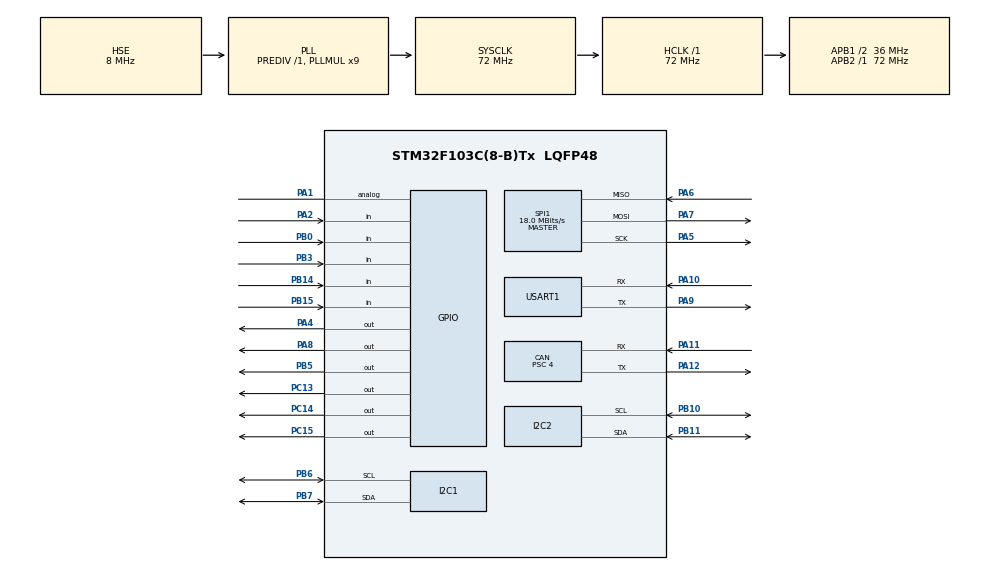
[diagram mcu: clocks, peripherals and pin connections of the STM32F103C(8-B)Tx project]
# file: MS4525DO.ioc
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CAN.ABOM=ENABLE
CAN.BS1=CAN_BS1_15TQ
CAN.BS2=CAN_BS2_2TQ
CAN.CalculateBaudRate=500000
CAN.CalculateTimeBit=2000
CAN.CalculateTimeQuantum=111.11111111111111
CAN.Mode=CAN_MODE_NORMAL
CAN.NART=ENABLE
CAN.Prescaler=4
FATFS._MAX_SS=4096
FATFS._USE_LFN=1
Mcu.Family=STM32F1
Mcu.Name=STM32F103C(8-B)Tx
Mcu.Package=LQFP48
NVIC.PriorityGroup=NVIC_PRIORITYGROUP_4
NVIC.USB_LP_CAN1_RX0_IRQn=true\:0\:0\:false\:false\:true\:true\:true\:true
PA1.Signal=GPIO_Analog
PA10.Mode=Asynchronous
PA10.Signal=USART1_RX
PA11.Mode=CAN_Activate
PA11.Signal=CAN_RX
PA12.Mode=CAN_Activate
PA12.Signal=CAN_TX
PA13.Mode=Serial_Wire
PA13.Signal=SYS_JTMS-SWDIO
PA14.Mode=Serial_Wire
PA14.Signal=SYS_JTCK-SWCLK
PA2.Signal=GPIO_Input
PA4.Signal=GPIO_Output
PA5.Mode=Full_Duplex_Master
PA5.Signal=SPI1_SCK
PA6.Mode=Full_Duplex_Master
PA6.Signal=SPI1_MISO
PA7.Mode=Full_Duplex_Master
PA7.Signal=SPI1_MOSI
PA8.Signal=GPIO_Output
PA9.Mode=Asynchronous
PA9.Signal=USART1_TX
PB0.Signal=GPIO_Input
PB10.Mode=I2C
PB10.Signal=I2C2_SCL
PB11.Mode=I2C
PB11.Signal=I2C2_SDA
PB14.Signal=GPIO_Input
PB15.Signal=GPIO_Input
PB3.Signal=GPIO_Input
PB5.Signal=GPIO_Output
PB6.Mode=I2C
PB6.Signal=I2C1_SCL
PB7.Mode=I2C
PB7.Signal=I2C1_SDA
PC13-TAMPER-RTC.Signal=GPIO_Output
PC14-OSC32_IN.Signal=GPIO_Output
PC15-OSC32_OUT.Signal=GPIO_Output
PD0-OSC_IN.Mode=HSE-External-Oscillator
PD0-OSC_IN.Signal=RCC_OSC_IN
PD1-OSC_OUT.Mode=HSE-External-Oscillator
PD1-OSC_OUT.Signal=RCC_OSC_OUT
ProjectManager.HeapSize=0x200
ProjectManager.StackSize=0x400
ProjectManager.TargetToolchain=STM32CubeIDE
RCC.AHBFreq_Value=72000000
RCC.APB1CLKDivider=RCC_HCLK_DIV2
RCC.APB1Freq_Value=36000000
RCC.APB1TimFreq_Value=72000000
RCC.APB2Freq_Value=72000000
RCC.APB2TimFreq_Value=72000000
RCC.HCLKFreq_Value=72000000
RCC.PLLMUL=RCC_PLL_MUL9
RCC.PLLSourceVirtual=RCC_PLLSOURCE_HSE
RCC.SYSCLKFreq_VALUE=72000000
RCC.SYSCLKSource=RCC_SYSCLKSOURCE_PLLCLK
RCC.USBFreq_Value=72000000
SPI1.BaudRatePrescaler=SPI_BAUDRATEPRESCALER_4
SPI1.CalculateBaudRate=18.0 MBits/s
SPI1.Direction=SPI_DIRECTION_2LINES
SPI1.Mode=SPI_MODE_MASTER
SPI1.VirtualType=VM_MASTER
USART1.VirtualMode=VM_ASYNC
VP_FATFS_VS_Generic.Mode=User_defined
board=custom

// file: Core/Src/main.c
/* USER CODE BEGIN Header */
/**
  ******************************************************************************
  * @file           : main.c
  * @brief          : Main program body
  ******************************************************************************
  * @attention
  *
  * Copyright (c) 2024 STMicroelectronics.
  * All rights reserved.
  *
  * This software is licensed under terms that can be found in the LICENSE file
  * in the root directory of this software component.
  * If no LICENSE file comes with this software, it is provided AS-IS.
  *
  ******************************************************************************
  */
/* USER CODE END Header */
#include "main.h"
#include "fatfs.h"

/* USER CODE BEGIN Includes */
#include "can_helper.h"
#include "sd_card.h"
#include "bno055.h"
#include "logger.h"
#include "sensors.h"
#include "ms4525do.h"
#include "config.h"
//#include <string.h>
#include "config.h"
#include <stdio.h>
/* USER CODE END Includes */

/* USER CODE BEGIN PD */
FATFS fs;
FIL fil;
/* USER CODE END PD */

CAN_HandleTypeDef hcan;

I2C_HandleTypeDef hi2c1;
I2C_HandleTypeDef hi2c2;

SPI_HandleTypeDef hspi1;

UART_HandleTypeDef huart1;

/* USER CODE BEGIN PV */
extern sensor_data_t sensor_data;
/* USER CODE END PV */

void SystemClock_Config(void);
static void MX_GPIO_Init(void);
static void MX_I2C1_Init(void);
static void MX_CAN_Init(void);
static void MX_USART1_UART_Init(void);
static void MX_SPI1_Init(void);
static void MX_I2C2_Init(void);

int main(void)
{

  /* MCU Configuration--------------------------------------------------------*/

  /* Reset of all peripherals, Initializes the Flash interface and the Systick. */
  HAL_Init();

  /* Configure the system clock */
  SystemClock_Config();

  /* Initialize all configured peripherals */
  MX_GPIO_Init();
  MX_I2C1_Init();
  MX_CAN_Init();
  MX_USART1_UART_Init();
  MX_SPI1_Init();
  MX_FATFS_Init();
  MX_I2C2_Init();
  /* USER CODE BEGIN 2 */
  HAL_Delay(100);
  printf("Beginning Setup\r\n");

  // Initialize log file
  logger_init(&huart1, LOG_DEBUG);

  // Initialize SD card
  f_mount(&fs, "", 0);

  // Create airspeed.txt file
  f_open(&fil, "airspeed.txt", FA_OPEN_ALWAYS | FA_WRITE | FA_READ);
  f_lseek(&fil, fil.fsize);

  // Initialize Airspeed Sensor
  ms4525d0_init(MS4525D0_I2C);
  printf("Airspeed Sensor Initialized\r\n");

  // Initilaize BNO055
  bno055_init();
  printf("BNO055 Initialized\r\n");
  //bno055_calibration_routine();
  //printf("Calibration Routine Complete\r\n");
  bno055_load_calibration_data_sd();
  printf("Calibration Data Loaded\r\n");

  printf("Setup Complete\r\n");
  //IDK
  uint8_t tx_data[8];
  /* USER CODE END 2 */

  /* Infinite loop */
  while (1)
  {

    /* USER CODE BEGIN 3 */
	  	read_ms4525do();
		bno055_flush();
		populate_sensor_data(&sensor_data);

		/*transmit CAN*/
		memcpy(tx_data, &sensor_data.airspeed_mps, sizeof(double));
		send_can_message(tx_data);

		LOG_MESSAGE(LOG_INFO, "Saving sensor data");
		save_sensors_sd(&sensor_data);

		HAL_Delay(100);

  }
  /* USER CODE END 3 */
}

void SystemClock_Config(void)
{
  RCC_OscInitTypeDef RCC_OscInitStruct = {0};
  RCC_ClkInitTypeDef RCC_ClkInitStruct = {0};

  /** Initializes the RCC Oscillators according to the specified parameters
  * in the RCC_OscInitTypeDef structure.
  */
  RCC_OscInitStruct.OscillatorType = RCC_OSCILLATORTYPE_HSE;
  RCC_OscInitStruct.HSEState = RCC_HSE_ON;
  RCC_OscInitStruct.HSEPredivValue = RCC_HSE_PREDIV_DIV1;
  RCC_OscInitStruct.HSIState = RCC_HSI_ON;
  RCC_OscInitStruct.PLL.PLLState = RCC_PLL_ON;
  RCC_OscInitStruct.PLL.PLLSource = RCC_PLLSOURCE_HSE;
  RCC_OscInitStruct.PLL.PLLMUL = RCC_PLL_MUL9;
  if (HAL_RCC_OscConfig(&RCC_OscInitStruct) != HAL_OK)
  {
    Error_Handler();
  }

  /** Initializes the CPU, AHB and APB buses clocks
  */
  RCC_ClkInitStruct.ClockType = RCC_CLOCKTYPE_HCLK|RCC_CLOCKTYPE_SYSCLK
                              |RCC_CLOCKTYPE_PCLK1|RCC_CLOCKTYPE_PCLK2;
  RCC_ClkInitStruct.SYSCLKSource = RCC_SYSCLKSOURCE_PLLCLK;
  RCC_ClkInitStruct.AHBCLKDivider = RCC_SYSCLK_DIV1;
  RCC_ClkInitStruct.APB1CLKDivider = RCC_HCLK_DIV2;
  RCC_ClkInitStruct.APB2CLKDivider = RCC_HCLK_DIV1;

  if (HAL_RCC_ClockConfig(&RCC_ClkInitStruct, FLASH_LATENCY_2) != HAL_OK)
  {
    Error_Handler();
  }
}

static void MX_CAN_Init(void)
{

  hcan.Instance = CAN1;
  hcan.Init.Prescaler = 4;
  hcan.Init.Mode = CAN_MODE_NORMAL;
  hcan.Init.SyncJumpWidth = CAN_SJW_1TQ;
  hcan.Init.TimeSeg1 = CAN_BS1_15TQ;
  hcan.Init.TimeSeg2 = CAN_BS2_2TQ;
  hcan.Init.TimeTriggeredMode = DISABLE;
  hcan.Init.AutoBusOff = ENABLE;
  hcan.Init.AutoWakeUp = DISABLE;
  hcan.Init.AutoRetransmission = ENABLE;
  hcan.Init.ReceiveFifoLocked = DISABLE;
  hcan.Init.TransmitFifoPriority = DISABLE;
  if (HAL_CAN_Init(&hcan) != HAL_OK)
  {
    Error_Handler();
  }
  /* USER CODE BEGIN CAN_Init 2 */
  CAN_FilterTypeDef canFilterConfig;

  canFilterConfig.FilterBank = 0;                         // Use filter bank 0
  canFilterConfig.FilterMode = CAN_FILTERMODE_IDMASK;    // Use mask mode
  canFilterConfig.FilterScale = CAN_FILTERSCALE_32BIT;   // 32-bit scale
  canFilterConfig.FilterIdHigh = 0x0000;                 // ID doesn't matter
  canFilterConfig.FilterIdLow  = 0x0000;
  canFilterConfig.FilterMaskIdHigh = 0x0000;             // Mask = 0 = ignore all bits = allow all
  canFilterConfig.FilterMaskIdLow  = 0x0000;
  canFilterConfig.FilterFIFOAssignment = CAN_RX_FIFO0;   // Put accepted messages in FIFO0
  canFilterConfig.FilterActivation = ENABLE;
  canFilterConfig.SlaveStartFilterBank = 14;

  // Enable Filter
  if (HAL_CAN_ConfigFilter(&hcan, &canFilterConfig) != HAL_OK) {
      Error_Handler();
  }

  // Start CAN peripheral
  if (HAL_CAN_Start(&hcan) != HAL_OK) {
      Error_Handler();  // or print error
  }

  // Enable RX FIFO 0 message pending interrupt
  if (HAL_CAN_ActivateNotification(&hcan, CAN_IT_RX_FIFO0_MSG_PENDING) != HAL_OK) {
      Error_Handler();  // or print error
  }
  /* USER CODE END CAN_Init 2 */

}

static void MX_I2C1_Init(void)
{

  hi2c1.Instance = I2C1;
  hi2c1.Init.ClockSpeed = 100000;
  hi2c1.Init.DutyCycle = I2C_DUTYCYCLE_2;
  hi2c1.Init.OwnAddress1 = 0;
  hi2c1.Init.AddressingMode = I2C_ADDRESSINGMODE_7BIT;
  hi2c1.Init.DualAddressMode = I2C_DUALADDRESS_DISABLE;
  hi2c1.Init.OwnAddress2 = 0;
  hi2c1.Init.GeneralCallMode = I2C_GENERALCALL_DISABLE;
  hi2c1.Init.NoStretchMode = I2C_NOSTRETCH_DISABLE;
  if (HAL_I2C_Init(&hi2c1) != HAL_OK)
  {
    Error_Handler();
  }

}

static void MX_I2C2_Init(void)
{

  hi2c2.Instance = I2C2;
  hi2c2.Init.ClockSpeed = 100000;
  hi2c2.Init.DutyCycle = I2C_DUTYCYCLE_2;
  hi2c2.Init.OwnAddress1 = 0;
  hi2c2.Init.AddressingMode = I2C_ADDRESSINGMODE_7BIT;
  hi2c2.Init.DualAddressMode = I2C_DUALADDRESS_DISABLE;
  hi2c2.Init.OwnAddress2 = 0;
  hi2c2.Init.GeneralCallMode = I2C_GENERALCALL_DISABLE;
  hi2c2.Init.NoStretchMode = I2C_NOSTRETCH_DISABLE;
  if (HAL_I2C_Init(&hi2c2) != HAL_OK)
  {
    Error_Handler();
  }

}

static void MX_SPI1_Init(void)
{

  /* SPI1 parameter configuration*/
  hspi1.Instance = SPI1;
  hspi1.Init.Mode = SPI_MODE_MASTER;
  hspi1.Init.Direction = SPI_DIRECTION_2LINES;
  hspi1.Init.DataSize = SPI_DATASIZE_8BIT;
  hspi1.Init.CLKPolarity = SPI_POLARITY_LOW;
  hspi1.Init.CLKPhase = SPI_PHASE_1EDGE;
  hspi1.Init.NSS = SPI_NSS_SOFT;
  hspi1.Init.BaudRatePrescaler = SPI_BAUDRATEPRESCALER_4;
  hspi1.Init.FirstBit = SPI_FIRSTBIT_MSB;
  hspi1.Init.TIMode = SPI_TIMODE_DISABLE;
  hspi1.Init.CRCCalculation = SPI_CRCCALCULATION_DISABLE;
  hspi1.Init.CRCPolynomial = 10;
  if (HAL_SPI_Init(&hspi1) != HAL_OK)
  {
    Error_Handler();
  }

}

static void MX_USART1_UART_Init(void)
{

  huart1.Instance = USART1;
  huart1.Init.BaudRate = 115200;
  huart1.Init.WordLength = UART_WORDLENGTH_8B;
  huart1.Init.StopBits = UART_STOPBITS_1;
  huart1.Init.Parity = UART_PARITY_NONE;
  huart1.Init.Mode = UART_MODE_TX_RX;
  huart1.Init.HwFlowCtl = UART_HWCONTROL_NONE;
  huart1.Init.OverSampling = UART_OVERSAMPLING_16;
  if (HAL_UART_Init(&huart1) != HAL_OK)
  {
    Error_Handler();
  }

}

static void MX_GPIO_Init(void)
{
  GPIO_InitTypeDef GPIO_InitStruct = {0};

  /* GPIO Ports Clock Enable */
  __HAL_RCC_GPIOC_CLK_ENABLE();
  __HAL_RCC_GPIOD_CLK_ENABLE();
  __HAL_RCC_GPIOA_CLK_ENABLE();
  __HAL_RCC_GPIOB_CLK_ENABLE();

  /*Configure GPIO pin Output Level */
  HAL_GPIO_WritePin(GPIOC, GPIO_PIN_13|GPIO_PIN_14|GPIO_PIN_15, GPIO_PIN_RESET);

  /*Configure GPIO pin Output Level */
  HAL_GPIO_WritePin(GPIOA, GPIO_PIN_4|GPIO_PIN_8, GPIO_PIN_RESET);

  /*Configure GPIO pin Output Level */
  HAL_GPIO_WritePin(GPIOB, GPIO_PIN_5, GPIO_PIN_RESET);

  /*Configure GPIO pins : PC13 PC14 PC15 */
  GPIO_InitStruct.Pin = GPIO_PIN_13|GPIO_PIN_14|GPIO_PIN_15;
  GPIO_InitStruct.Mode = GPIO_MODE_OUTPUT_PP;
  GPIO_InitStruct.Pull = GPIO_NOPULL;
  GPIO_InitStruct.Speed = GPIO_SPEED_FREQ_LOW;
  HAL_GPIO_Init(GPIOC, &GPIO_InitStruct);

  /*Configure GPIO pin : PA1 */
  GPIO_InitStruct.Pin = GPIO_PIN_1;
  GPIO_InitStruct.Mode = GPIO_MODE_ANALOG;
  HAL_GPIO_Init(GPIOA, &GPIO_InitStruct);

  /*Configure GPIO pin : PA2 */
  GPIO_InitStruct.Pin = GPIO_PIN_2;
  GPIO_InitStruct.Mode = GPIO_MODE_INPUT;
  GPIO_InitStruct.Pull = GPIO_NOPULL;
  HAL_GPIO_Init(GPIOA, &GPIO_InitStruct);

  /*Configure GPIO pins : PA4 PA8 */
  GPIO_InitStruct.Pin = GPIO_PIN_4|GPIO_PIN_8;
  GPIO_InitStruct.Mode = GPIO_MODE_OUTPUT_PP;
  GPIO_InitStruct.Pull = GPIO_NOPULL;
  GPIO_InitStruct.Speed = GPIO_SPEED_FREQ_LOW;
  HAL_GPIO_Init(GPIOA, &GPIO_InitStruct);

  /*Configure GPIO pins : PB0 PB14 PB15 PB3 */
  GPIO_InitStruct.Pin = GPIO_PIN_0|GPIO_PIN_14|GPIO_PIN_15|GPIO_PIN_3;
  GPIO_InitStruct.Mode = GPIO_MODE_INPUT;
  GPIO_InitStruct.Pull = GPIO_NOPULL;
  HAL_GPIO_Init(GPIOB, &GPIO_InitStruct);

  /*Configure GPIO pin : PB5 */
  GPIO_InitStruct.Pin = GPIO_PIN_5;
  GPIO_InitStruct.Mode = GPIO_MODE_OUTPUT_PP;
  GPIO_InitStruct.Pull = GPIO_NOPULL;
  GPIO_InitStruct.Speed = GPIO_SPEED_FREQ_LOW;
  HAL_GPIO_Init(GPIOB, &GPIO_InitStruct);

}

void Error_Handler(void)
{
  /* USER CODE BEGIN Error_Handler_Debug */
  /* User can add his own implementation to report the HAL error return state */
  __disable_irq();
  while (1)
  {
	  HAL_GPIO_WritePin(GPIOA, GPIO_PIN_6, 1);
	      HAL_Delay(500);
	      HAL_GPIO_WritePin(GPIOA, GPIO_PIN_6, 0);
	      HAL_Delay(500);
	 break;
  }
  /* USER CODE END Error_Handler_Debug */
}
